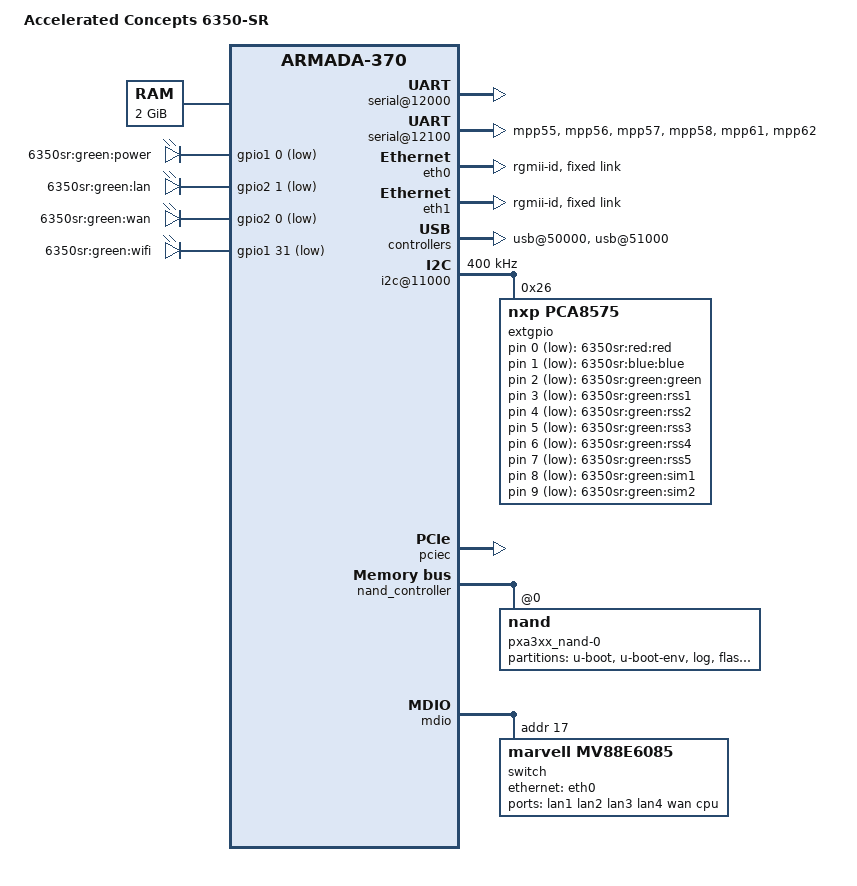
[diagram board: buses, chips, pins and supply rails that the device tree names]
/*
 * Device Tree file for AcceleratedConcepts 6350-SR
 *
 * Greg Ungerer <greg.ungerer@accelerated.com>
 *
 * This file is licensed under the terms of the GNU General Public
 * License version 2.  This program is licensed "as is" without any
 * warranty of any kind, whether express or implied.
 */

/dts-v1/;
#include "armada-370.dtsi"
#include <dt-bindings/gpio/gpio.h>

/ {
	model = "Accelerated Concepts 6350-SR";
	compatible = "accelerated,6350sr", "marvell,armada370", "marvell,armada-370-xp";

	chosen {
		bootargs = "console=ttyS0,115200";
	};

	memory@0 {
		device_type = "memory";
		reg = <0x00000000 0x80000000>; /* 2 GB */
	};

	soc {
		ranges = <MBUS_ID(0xf0, 0x01) 0 0xd0000000 0x100000
			  MBUS_ID(0x01, 0xe0) 0 0xfff00000 0x100000
			  MBUS_ID(0x09, 0x01) 0 0xf1100000 0x10000>;

		internal-regs {
			serial@12000 {
				clock-frequency = <200000000>;
				pinctrl-0 = <&uart0_pins>;
				pinctrl-names = "default";
				status = "okay";
			};

			serial@12100 {
				clock-frequency = <200000000>;
				pinctrl-0 = <&uart1_full_pins &uart1_dtr_pin &uart1_dcd_pin>;
				pinctrl-names = "default";
				dtr-gpios = <&gpio1 29 GPIO_ACTIVE_LOW>;
				dcd-gpios = <&gpio1 30 GPIO_ACTIVE_LOW>;
				status = "okay";
			};

			timer@20300 {
				clock-frequency = <600000000>;
				status = "okay";
			};

			eth0: ethernet@70000 {
				status = "okay";
				phy-mode = "rgmii-id";
				fixed-link {
					speed = <1000>;
					full-duplex;
				};
			};
			eth1: ethernet@74000 {
				status = "okay";
				phy-mode = "rgmii-id";
				fixed-link {
					speed = <1000>;
					full-duplex;
				};
			};

			crypto@90000 {
				status = "okay";
			};

			usb@50000 {
				status = "okay";
			};

			usb@51000 {
				status = "okay";
			};

			i2c@11000 {
				status = "okay";
				pinctrl-0 = <&i2c0_pins>;
				pinctrl-names = "default";
				clock-frequency = <400000>;

				extgpio: pca8575@26 {
					compatible = "nxp,pca8575";
					reg = <0x26>;
					gpio-controller;
					#gpio-cells = <2>;
				};
			};
		};
	};

	leds {
		compatible = "gpio-leds";
		pinctrl-names = "default";
		pinctrl-0 = <&power_led_pin &lan_led_pin &wan_led_pin &wifi_led_pin>;

		power_led {
			label = "6350sr:green:power";
			gpios = <&gpio1 0 GPIO_ACTIVE_LOW>;
			linux,default-trigger = "default-on";
		};

		lan_led {
			label = "6350sr:green:lan";
			gpios = <&gpio2 1 GPIO_ACTIVE_LOW>;
			linux,default-trigger = "lan";
		};

		wan_led {
			label = "6350sr:green:wan";
			gpios = <&gpio2 0 GPIO_ACTIVE_LOW>;
			linux,default-trigger = "wan";
		};

		wifi_led {
			label = "6350sr:green:wifi";
			gpios = <&gpio1 31 GPIO_ACTIVE_LOW>;
			linux,default-trigger = "wifi";
		};

		red_led {
			label = "6350sr:red:red";
			gpios = <&extgpio 0 GPIO_ACTIVE_LOW>;
		};
		blue_led {
			label = "6350sr:blue:blue";
			gpios = <&extgpio 1 GPIO_ACTIVE_LOW>;
		};
		green_led {
			label = "6350sr:green:green";
			gpios = <&extgpio 2 GPIO_ACTIVE_LOW>;
		};
		rss1_led {
			label = "6350sr:green:rss1";
			gpios = <&extgpio 3 GPIO_ACTIVE_LOW>;
		};
		rss2_led {
			label = "6350sr:green:rss2";
			gpios = <&extgpio 4 GPIO_ACTIVE_LOW>;
		};
		rss3_led {
			label = "6350sr:green:rss3";
			gpios = <&extgpio 5 GPIO_ACTIVE_LOW>;
		};
		rss4_led {
			label = "6350sr:green:rss4";
			gpios = <&extgpio 6 GPIO_ACTIVE_LOW>;
		};
		rss5_led {
			label = "6350sr:green:rss5";
			gpios = <&extgpio 7 GPIO_ACTIVE_LOW>;
		};
		sim1_led {
			label = "6350sr:green:sim1";
			gpios = <&extgpio 8 GPIO_ACTIVE_LOW>;
		};
		sim2_led {
			label = "6350sr:green:sim2";
			gpios = <&extgpio 9 GPIO_ACTIVE_LOW>;
		};
	};

	gpio_pcie_enables {
		pinctrl-names = "default";
		pinctrl-0 = <&pcie_reset_pin>;
	};

	gpio_usb_enables {
		pinctrl-names = "default";
		pinctrl-0 = <&usb_power_pin &usb_over_current_pin &wdisable_pin &led_wlan_pin>;
	};

	cell_enables {
		pinctrl-names = "default";
		pinctrl-0 = <&cell_presence_pin &cell_sim_select_pin &cell_power_pin &cell_button_pin>;
	};

};

&pinctrl {
	uart1_full_pins: uart1-full-pins {
		marvell,pins = "mpp55", "mpp56", "mpp57", "mpp58";
		marvell,function = "uart1";
	};

	uart1_dtr_pin: uart1-dtr-pin {
		marvell,pins = "mpp61";
		marvell,function = "gpo";
	};

	uart1_dcd_pin: uart1-dcd-pin {
		marvell,pins = "mpp62";
		marvell,function = "gpio";
	};

	power_led_pin: power-led-pin {
		marvell,pins = "mpp32";
		marvell,function = "gpio";
	};

	lan_led_pin: lan-led-pin {
		marvell,pins = "mpp65";
		marvell,function = "gpio";
	};

	wan_led_pin: wan-led-pin {
		marvell,pins = "mpp64";
		marvell,function = "gpio";
	};

	wifi_led_pin: wifi-led-pin {
		marvell,pins = "mpp63";
		marvell,function = "gpio";
	};

	pcie_reset_pin: pcie-reset-pin {
		marvell,pins = "mpp51";
		marvell,function = "gpio";
	};

	usb_power_pin: usb-power-pin {
		marvell,pins = "mpp4";
		marvell,function = "gpio";
	};

	usb_over_current_pin: usb-over-current-pin {
		marvell,pins = "mpp31";
		marvell,function = "gpio";
	};

	wdisable_pin: wdisable-pin {
		marvell,pins = "mpp49";
		marvell,function = "gpio";
	};

	led_wlan_pin: led-wlan-pin {
		marvell,pins = "mpp50";
		marvell,function = "gpio";
	};

	cell_presence_pin: cell-presence-pin {
		marvell,pins = "mpp60";
		marvell,function = "gpio";
	};

	cell_sim_select_pin: cell-sim-select-pin {
		marvell,pins = "mpp59";
		marvell,function = "gpo";
	};

	cell_power_pin: cell-power-pin {
		marvell,pins = "mpp47";
		marvell,function = "gpio";
	};

	cell_button_pin: cell-button-pin {
		marvell,pins = "mpp52";
		marvell,function = "gpio";
	};
};

&pciec {
	status = "okay";

	/* Internal mini-PCIe connector */
	pcie@1,0 {
		/* Port 0, Lane 0 */
		status = "okay";
	};

	pcie@2,0 {
		/* Port 1, Lane 0 */
		status = "okay";
	};
};

&nand_controller {
	status = "okay";

	nand@0 {
		reg = <0>;
		label = "pxa3xx_nand-0";
		nand-rb = <0>;
		marvell,nand-keep-config;
		nand-on-flash-bbt;
		nand-ecc-strength = <4>;
		nand-ecc-step-size = <512>;

		partitions {
			compatible = "fixed-partitions";
			#address-cells = <1>;
			#size-cells = <1>;

			partition@0 {
				label="u-boot";
				reg = <0x00000000 0x00200000>;
			};
			partition@1 {
				label="u-boot-env";
				reg = <0x00200000 0x00100000>;
			};
			partition@2 {
				label="log";
				reg = <0x00300000 0x00200000>;
			};
			partition@3 {
				label="flash";
				reg = <0x00500000 0>;
			};
			partition@4 {
				label="all";
				reg = <0x00000000 0>;
			};
		};
	};
};

&mdio {
	status = "okay";
	pinctrl-0 = <&mdio_pins>;
	pinctrl-names = "default";

	switch@11 {
		compatible = "marvell,mv88e6085";
		#address-cells = <1>;
		#size-cells = <0>;
		reg = <0x11>;
		dsa,member = <0 0>;

		ports {
			#address-cells = <1>;
			#size-cells = <0>;

			port@0 {
				reg = <0>;
				label = "lan1";
			};
			port@1 {
				reg = <1>;
				label = "lan2";
			};
			port@2 {
				reg = <2>;
				label = "lan3";
			};
			port@3 {
				reg = <3>;
				label = "lan4";
			};
			port@4 {
				reg = <4>;
				label = "wan";
			};
			port@5 {
				reg = <5>;
				label = "cpu";
				ethernet = <&eth0>;
				fixed-link {
					speed = <1000>;
					full-duplex;
				};
			};
		};
	};
};
